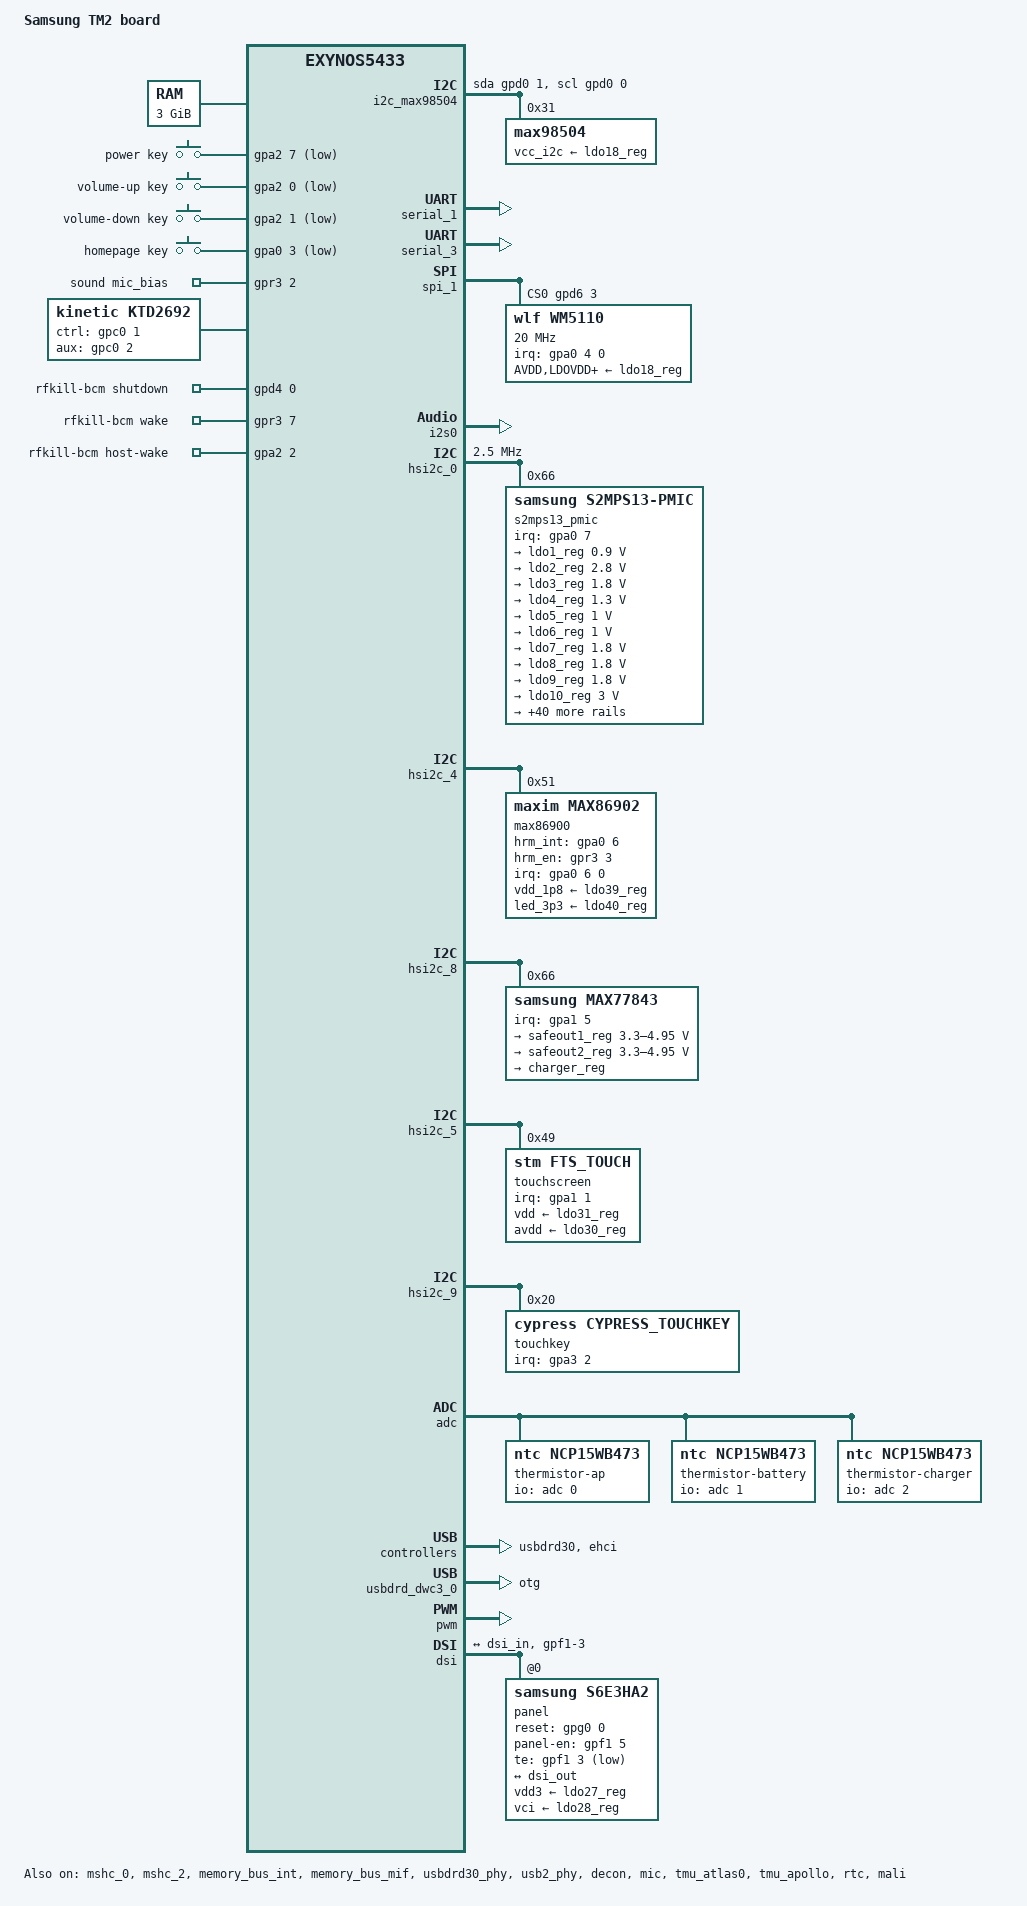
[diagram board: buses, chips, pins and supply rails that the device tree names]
/*
 * SAMSUNG Exynos5433 TM2 board device tree source
 *
 * Copyright (c) 2014 Samsung Electronics Co., Ltd.
 *		http://www.samsung.com
 *
 * This program is free software; you can redistribute it and/or modify
 * it under the terms of the GNU General Public License version 2 as
 * published by the Free Software Foundation.
 */

/dts-v1/;
#include "exynos5433.dtsi"
#include <dt-bindings/input/input.h>

/ {
	model = "Samsung TM2 board";
	model_info-chip = <5433>;
	model_info-platform = "trlte";
	model_info-subtype = "trlte_eur_open";
	model_info-hw_rev = <7>;
	model_info-hw_rev_end = <7>;

	compatible = "samsung,tm2", "samsung,exynos5433";

	aliases {
		pinctrl0 = &pinctrl_alive;
		pinctrl1 = &pinctrl_aud;
		pinctrl2 = &pinctrl_cpif;
		pinctrl3 = &pinctrl_ese;
		pinctrl4 = &pinctrl_finger;
		pinctrl5 = &pinctrl_fsys;
		pinctrl6 = &pinctrl_imem;
		pinctrl7 = &pinctrl_nfc;
		pinctrl8 = &pinctrl_peric;
		pinctrl9 = &pinctrl_touch;
		serial0 = &serial_0;
		serial1 = &serial_1;
		serial2 = &serial_2;
		serial3 = &serial_3;
		i2c0 = &hsi2c_0;
		i2c1 = &hsi2c_1;
		i2c2 = &hsi2c_2;
		i2c3 = &hsi2c_3;
		i2c4 = &hsi2c_4;
		i2c5 = &hsi2c_5;
		i2c6 = &hsi2c_6;
		i2c7 = &hsi2c_7;
		i2c8 = &hsi2c_8;
		i2c9 = &hsi2c_9;
		i2c10 = &hsi2c_10;
		i2c11 = &hsi2c_11;
		i2c12 = &i2c_max98504;
		mshc0 = &mshc_0;
		mshc1 = &mshc_1;
		mshc2 = &mshc_2;
		spi0 = &spi_0;
		spi1 = &spi_1;
		spi2 = &spi_2;
		spi3 = &spi_3;
		spi4 = &spi_4;
		usbdrdphy0 = &usbdrd30_phy;
	};

	chosen {
		linux,stdout-path = &serial_1;
	};

	memory@20000000 {
		device_type = "memory";
		reg = <0x0 0x20000000 0x0 0xc0000000>;
	};

	always-on-clks {
		compatible = "clk-always-on";
		clocks = <&cmu_peric CLK_PCLK_UART1>,
			<&cmu_peric CLK_SCLK_UART1>,
			<&cmu_aud CLK_PCLK_AUD_UART>,
			<&cmu_aud CLK_SCLK_AUD_UART>;
	};

	cmu_suspend {
		compatible = "exynos5433-cmu-suspend";
		suspend-on-clks = <&cmu_mif CLK_SCLK_DSIM0_DISP>,
				<&cmu_mif CLK_ACLK_DISP_333>,
				<&cmu_mif CLK_SCLK_DECON_ECLK_DISP>;
		suspend-reparent-clks = <&cmu_aud CLK_MOUT_AUD_PLL_USER &xxti>;
	};

	charger-manager {
		compatible = "charger-manager";

		cm-name = "battery";
		cm-poll-mode = <1>;
		cm-poll-mode-sleep = <2>;
		cm-poll-interval = <30000>;

		cm-fullbatt-vchkdrop-volt = <150000>;
		cm-fullbatt-voltage = <4300000>;
		cm-fullbatt-soc = <100>;
		cm-fullbatt-capacity = <100>;

		cm-battery-stat = <3>;

		cm-fuel-gauge = "max77843-fuelgauge";

		cm-charging-max = <21600000>;	/* 60 hours */
		cm-discharging-max = <300000>;	/* 5 minutes */

		cm-num-chargers = <1>;
		cm-chargers = "max77843-charger";

		charger@0 {
			cm-regulator-name = "CHARGER";
			cable@0 {
				cm-cable-name = "USB";
				cm-cable-extcon = "max77843-muic";
				cm-cable-min = <500000>;
				cm-cable-max = <500000>;
			};
			cable@1 {
				cm-cable-name = "TA";
				cm-cable-extcon = "max77843-muic";
				cm-cable-min = <2100000>;
				cm-cable-max = <2100000>;
			};
		};
	};

	gpio_keys {
		compatible = "gpio-keys";

		power_key {
			gpios = <&gpa2 7 1>;
			linux,code = <KEY_POWER>;
			label = "power key";
			debounce-interval = <10>;
			gpio-key,wakeup;
		};

		volume_up_key {
			gpios = <&gpa2 0 1>;
			linux,code = <KEY_VOLUMEUP>;
			label = "volume-up key";
			debounce-interval = <10>;
		};

		volume_down_key {
			gpios = <&gpa2 1 1>;
			linux,code = <KEY_VOLUMEDOWN>;
			label = "volume-down key";
			debounce-interval = <10>;
		};

		homepage_key {
			gpios = <&gpa0 3 1>;
			linux,code = <KEY_MENU>;
			label = "homepage key";
			debounce-interval = <10>;
		};
	};

	i2c_max98504: i2c-gpio-0 {
		compatible = "i2c-gpio";
		gpios = <&gpd0 1 0 /* SPK_AMP_SDA */
			 &gpd0 0 0 /* SPK_AMP_SCL */ >;
		i2c-gpio,delay-us = <2>;
		#address-cells = <1>;
		#size-cells = <0>;
		status = "okay";
		max98504@31 {
			compatible = "max98504";
			reg = <0x31>;
			vcc_i2c-supply = <&ldo18_reg>;
			max98504,rx_mode = <1>;
			max98504,tx_mode = <1>;
			max98504,cfg_data = <0 0 0 0 0 3 0 2 0 0>;
		};
	};

	cpufreq {
		compatible = "arm-bL-cpufreq-dt";
		status = "okay";
	};

	sound {
		compatible = "samsung,tm2-audio";
		clocks = <&pmu_system_controller 0>, <&s2mps13_osc 2>;
		clock-names = "mclk1", "mclk2";
		assigned-clocks = <&pmu_system_controller 0>;
		assigned-clock-parents = <&xxti>;
		samsung,i2s-controller = <&i2s0>;
		samsung,model = "wm5110";
		mic_bias_gpio = <&gpr3 2 0>;
		samsung,audio-routing =
			"HP", "HPOUT1L",
			"HP", "HPOUT1R",

			"SPK", "HPOUT2L",
			"SPK", "HPOUT2R",

			"RCV", "HPOUT3L",
			"RCV", "HPOUT3R",

			"VPS", "HPOUT2L",
			"VPS", "HPOUT2R",

			"HDMI", "SPKOUTL",

			"Main Mic", "MICBIAS2",
			"IN1R", "Main Mic",

			"Sub Mic", "MICBIAS3",
			"IN3L", "Sub Mic",

			"Third Mic", "MICBIAS2",
			"Third Mic", "MICBIAS3",
			"IN3R", "Third Mic",

			"Headset Mic", "MICBIAS1",
			"IN2R", "Headset Mic";
	};

	ktd2692 {
		compatible = "kinetic,ktd2692";
		ctrl-gpio = <&gpc0 1 0>;
		aux-gpio = <&gpc0 2 0>;

		flash-led {
			label = "ktd2692-flash";
			flash-max-microamp = <1050000>;
			flash-max-timeout-us = <1835000>;
		};
	};

	rfkill-bcm {
		compatible = "brcm,bcm4358";
		rfkill-name = "bcm4358-bt";
		rfkill-type = <2>;
		shutdown-gpios = <&gpd4 0 0>;
		wake-gpios = <&gpr3 7 0>;
		host-wake-gpios = <&gpa2 2 0>;
	};
};

&cpu0 {
	cpu-supply = <&buck3_reg>;
};

&cpu4 {
	cpu-supply = <&buck2_reg>;
};

&serial_1 {
	status = "okay";
};

&serial_3 {
	assigned-clocks = <&cmu_aud CLK_MOUT_AUD_PLL_USER>;
	assigned-clock-parents = <&cmu_top CLK_FOUT_AUD_PLL>;
	status = "okay";
};

&spi_1 {
	cs-gpios = <&gpd6 3 0>;	/* CODEC_SPI_SSN */
	status = "okay";

	wm5110: wm5110-codec@0 {
		compatible = "wlf,wm5110";
		reg = <0x0>;
		spi-max-frequency = <20000000>;
		interrupt-parent = <&gpa0>;	/* CODEC_IRQ_N */
		interrupts = <4 0 0>;

		gpio-controller;
		#gpio-cells = <2>;

		wlf,micd-detect-debounce = <300>;
		wlf,micd-bias-start-time = <0x1>;
		wlf,micd-rate = <0x7>;
		wlf,micd-dbtime = <0x1>;
		wlf,micd-force-micbias;

		wlf,micd-ranges = <
			139 0x101
			295 0x102
			752 0x103
			1257 0x104
		>;
		wlf,micd-configs = <
			0x0 1 0
		>;

		wlf,reset = <&gpc0 7 0>;	/* CODEC_RESET_N */
		wlf,ldoena = <&gpf0 0 0>;	/* CODEC_LDO_EN */
		wlf,inmode = <2 0 2 0>;         /* INn_MODE */

		wlf,hpdet-channel = <1>;	/* HPDETR */

		wlf,gpsw = <0x1>;

		/* core supplies */
		AVDD-supply = <&ldo18_reg>;
		LDOVDD-supply = <&ldo18_reg>;
		DBVDD1-supply = <&ldo18_reg>;

		CPVDD-supply = <&ldo18_reg>;
		DBVDD2-supply = <&ldo18_reg>;
		DBVDD3-supply = <&ldo18_reg>;
		SPKVDDL-supply = <&ldo18_reg>;
		SPKVDDR-supply = <&ldo18_reg>;

		ldo1 {
			DCVDD-supply = <&ldo18_reg>;
		};

		controller-data {
			samsung,spi-feedback-delay = <0>;
		};
	};
};

&i2s0 {
	status = "okay";
};

&hsi2c_0 {
	status = "okay";
	clock-frequency = <2500000>;

	s2mps13_pmic@66 {
		compatible = "samsung,s2mps13-pmic";
		interrupt-parent = <&gpa0>;
		interrupts = <7 0>;
		reg = <0x66>;
		wakeup;

		s2mps13_osc: clocks {
			compatible = "samsung,s2mps13-clk";
			#clock-cells = <1>;
			clock-output-names = "s2mps13_ap", "s2mps13_cp",
				"s2mps13_bt";
		};

		regulators {
			ldo1_reg: LDO1 {
				regulator-name = "VDD_ALIVE_0.9V_AP";
				regulator-min-microvolt = <900000>;
				regulator-max-microvolt = <900000>;
				regulator-always-on;
			};

			ldo2_reg: LDO2 {
				regulator-name = "VDDQ_MMC2_2.8V_AP";
				regulator-min-microvolt = <2800000>;
				regulator-max-microvolt = <2800000>;
				regulator-always-on;
				regulator-state-mem {
					regulator-off-in-suspend;
				};
			};

			ldo3_reg: LDO3 {
				regulator-name = "VDD1_E_1.8V_AP";
				regulator-min-microvolt = <1800000>;
				regulator-max-microvolt = <1800000>;
				regulator-always-on;
			};

			ldo4_reg: LDO4 {
				regulator-name = "VDD10_MIF_PLL_1.0V_AP";
				regulator-min-microvolt = <1300000>;
				regulator-max-microvolt = <1300000>;
				regulator-always-on;
				regulator-state-mem {
					regulator-off-in-suspend;
				};
			};

			ldo5_reg: LDO5 {
				regulator-name = "VDD10_DPLL_1.0V_AP";
				regulator-min-microvolt = <1000000>;
				regulator-max-microvolt = <1000000>;
				regulator-always-on;
				regulator-state-mem {
					regulator-off-in-suspend;
				};
			};

			ldo6_reg: LDO6 {
				regulator-name = "VDD10_MIPI2L_1.0V_AP";
				regulator-min-microvolt = <1000000>;
				regulator-max-microvolt = <1000000>;
				regulator-always-on;
				regulator-state-mem {
					regulator-off-in-suspend;
				};
			};

			ldo7_reg: LDO7 {
				regulator-name = "VDD18_MIPI2L_1.8V_AP";
				regulator-min-microvolt = <1800000>;
				regulator-max-microvolt = <1800000>;
				regulator-always-on;
			};

			ldo8_reg: LDO8 {
				regulator-name = "VDD18_LLI_1.8V_AP";
				regulator-min-microvolt = <1800000>;
				regulator-max-microvolt = <1800000>;
				regulator-always-on;
				regulator-state-mem {
					regulator-off-in-suspend;
				};
			};

			ldo9_reg: LDO9 {
				regulator-name = "VDD18_ABB_ETC_1.8V_AP";
				regulator-min-microvolt = <1800000>;
				regulator-max-microvolt = <1800000>;
				regulator-always-on;
				regulator-state-mem {
					regulator-off-in-suspend;
				};
			};

			ldo10_reg: LDO10 {
				regulator-name = "VDD33_USB30_3.0V_AP";
				regulator-min-microvolt = <3000000>;
				regulator-max-microvolt = <3000000>;
				regulator-always-on;
				regulator-state-mem {
					regulator-off-in-suspend;
				};
			};

			ldo11_reg: LDO11 {
				regulator-name = "VDD_INT_M_1.0V_AP";
				regulator-min-microvolt = <1000000>;
				regulator-max-microvolt = <1000000>;
				regulator-always-on;
				regulator-state-mem {
					regulator-off-in-suspend;
				};
			};

			ldo12_reg: LDO12 {
				regulator-name = "VDD_KFC_M_1.1V_AP";
				regulator-min-microvolt = <800000>;
				regulator-max-microvolt = <1350000>;
				regulator-always-on;
			};

			ldo13_reg: LDO13 {
				regulator-name = "VDD_G3D_M_0.95V_AP";
				regulator-min-microvolt = <950000>;
				regulator-max-microvolt = <950000>;
				regulator-always-on;
				regulator-state-mem {
					regulator-off-in-suspend;
				};
			};

			ldo14_reg: LDO14 {
				regulator-name = "VDDQ_M1_LDO_1.2V_AP";
				regulator-min-microvolt = <1200000>;
				regulator-max-microvolt = <1200000>;
				regulator-always-on;
				regulator-state-mem {
					regulator-off-in-suspend;
				};
			};

			ldo15_reg: LDO15 {
				regulator-name = "VDDQ_M2_LDO_1.2V_AP";
				regulator-min-microvolt = <1200000>;
				regulator-max-microvolt = <1200000>;
				regulator-always-on;
				regulator-state-mem {
					regulator-off-in-suspend;
				};
			};

			ldo16_reg: LDO16 {
				regulator-name = "VDDQ_EFUSE";
				regulator-min-microvolt = <1400000>;
				regulator-max-microvolt = <3400000>;
				regulator-always-on;
			};

			ldo17_reg: LDO17 {
				regulator-name = "V_TFLASH_2.8V_AP";
				regulator-min-microvolt = <2800000>;
				regulator-max-microvolt = <2800000>;
			};

			ldo18_reg: LDO18 {
				regulator-name = "V_CODEC_1.8V_AP";
				regulator-min-microvolt = <1800000>;
				regulator-max-microvolt = <1800000>;
				regulator-always-on;
			};

			ldo19_reg: LDO19 {
				regulator-name = "VDDA_1.8V_COMP";
				regulator-min-microvolt = <1800000>;
				regulator-max-microvolt = <1800000>;
				regulator-always-on;
			};

			ldo20_reg: LDO20 {
				regulator-name = "VCC_2.8V_AP";
				regulator-min-microvolt = <2800000>;
				regulator-max-microvolt = <2800000>;
				regulator-always-on;
			};

			ldo21_reg: LDO21 {
				regulator-name = "VT_CAM_1.8V";
				regulator-min-microvolt = <1800000>;
				regulator-max-microvolt = <1800000>;
			};

			ldo22_reg: LDO22 {
				regulator-name = "CAM_IO_1.8V_AP";
				regulator-min-microvolt = <1800000>;
				regulator-max-microvolt = <1800000>;
			};

			ldo23_reg: LDO23 {
				regulator-name = "CAM_SEN_CORE_1.05V_AP";
				regulator-min-microvolt = <1050000>;
				regulator-max-microvolt = <1050000>;
			};

			ldo24_reg: LDO24 {
				regulator-name = "VT_CAM_1.2V";
				regulator-min-microvolt = <1200000>;
				regulator-max-microvolt = <1200000>;
			};

			ldo25_reg: LDO25 {
				regulator-name = "UNUSED_LDO25";
				regulator-min-microvolt = <2800000>;
				regulator-max-microvolt = <2800000>;
			};

			ldo26_reg: LDO26 {
				regulator-name = "CAM_AF_2.8V_AP";
				regulator-min-microvolt = <2800000>;
				regulator-max-microvolt = <2800000>;
			};

			ldo27_reg: LDO27 {
				regulator-name = "VCC_3.0V_LCD_AP";
				regulator-min-microvolt = <3000000>;
				regulator-max-microvolt = <3000000>;
				regulator-always-on;
			};

			ldo28_reg: LDO28 {
				regulator-name = "VCC_1.8V_LCD_AP";
				regulator-min-microvolt = <1800000>;
				regulator-max-microvolt = <1800000>;
				regulator-always-on;
			};

			ldo29_reg: LDO29 {
				regulator-name = "VT_CAM_3.0V";
				regulator-min-microvolt = <3000000>;
				regulator-max-microvolt = <3000000>;
				regulator-always-on;
			};

			ldo30_reg: LDO30 {
				regulator-name = "TSP_AVDD_3.3V_AP";
				regulator-min-microvolt = <3300000>;
				regulator-max-microvolt = <3300000>;
			};

			ldo31_reg: LDO31 {
				regulator-name = "TSP_VDD_1.85V_AP";
				regulator-min-microvolt = <1850000>;
				regulator-max-microvolt = <1850000>;
				regulator-boot-on;
			};

			ldo32_reg: LDO32 {
				regulator-name = "VTOUCH_1.8V_AP";
				regulator-min-microvolt = <1800000>;
				regulator-max-microvolt = <1800000>;
				regulator-boot-on;
			};

			ldo33_reg: LDO33 {
				regulator-name = "VTOUCH_LED_3.3V";
				regulator-min-microvolt = <3300000>;
				regulator-max-microvolt = <3300000>;
			};

			ldo34_reg: LDO34 {
				regulator-name = "VCC_1.8V_MHL_AP";
				regulator-min-microvolt = <1000000>;
				regulator-max-microvolt = <2100000>;
			};

			ldo35_reg: LDO35 {
				regulator-name = "OIS_VM_2.8V";
				regulator-min-microvolt = <1800000>;
				regulator-max-microvolt = <2800000>;
			};

			ldo36_reg: LDO36 {
				regulator-name = "VSIL_1.0V";
				regulator-min-microvolt = <1000000>;
				regulator-max-microvolt = <1000000>;
			};

			ldo37_reg: LDO37 {
				regulator-name = "VF_1.8V";
				regulator-min-microvolt = <1800000>;
				regulator-max-microvolt = <1800000>;
				regulator-always-on;
			};

			ldo38_reg: LDO38 {
				regulator-name = "VCC_3.0V_MOTOR_AP";
				regulator-min-microvolt = <3000000>;
				regulator-max-microvolt = <3000000>;
			};

			ldo39_reg: LDO39 {
				regulator-name = "V_HRM_1.8V";
				regulator-min-microvolt = <1800000>;
				regulator-max-microvolt = <1800000>;
			};

			ldo40_reg: LDO40 {
				regulator-name = "V_HRM_3.3V";
				regulator-min-microvolt = <3300000>;
				regulator-max-microvolt = <3300000>;
			};

			buck1_reg: BUCK1 {
				regulator-name = "VDD_MIF_0.9V_AP";
				regulator-min-microvolt = <600000>;
				regulator-max-microvolt = <1500000>;
				regulator-always-on;
				regulator-state-mem {
					regulator-off-in-suspend;
				};
			};

			buck2_reg: BUCK2 {
				regulator-name = "VDD_EGL_1.0V_AP";
				regulator-min-microvolt = <1300000>;
				regulator-max-microvolt = <1300000>;
				regulator-always-on;
				regulator-state-mem {
					regulator-off-in-suspend;
				};
			};

			buck3_reg: BUCK3 {
				regulator-name = "VDD_KFC_1.0V_AP";
				regulator-min-microvolt = <1200000>;
				regulator-max-microvolt = <1200000>;
				regulator-always-on;
				regulator-state-mem {
					regulator-off-in-suspend;
				};
			};

			buck4_reg: BUCK4 {
				regulator-name = "VDD_INT_0.95V_AP";
				regulator-min-microvolt = <600000>;
				regulator-max-microvolt = <1500000>;
				regulator-always-on;
				regulator-state-mem {
					regulator-off-in-suspend;
				};
			};

			buck5_reg: BUCK5 {
				regulator-name = "VDD_DISP_CAM0_0.9V_AP";
				regulator-min-microvolt = <600000>;
				regulator-max-microvolt = <1500000>;
				regulator-always-on;
				regulator-state-mem {
					regulator-off-in-suspend;
				};
			};

			buck6_reg: BUCK6 {
				regulator-name = "VDD_G3D_0.9V_AP";
				regulator-min-microvolt = <600000>;
				regulator-max-microvolt = <1500000>;
				regulator-always-on;
				regulator-state-mem {
					regulator-off-in-suspend;
				};
			};

			buck7_reg: BUCK7 {
				regulator-name = "VDD_MEM1_1.2V_AP";
				regulator-min-microvolt = <1200000>;
				regulator-max-microvolt = <1200000>;
				regulator-always-on;
			};

			buck8_reg: BUCK8 {
				regulator-name = "VDD_LLDO_1.35V_AP";
				regulator-min-microvolt = <1350000>;
				regulator-max-microvolt = <3300000>;
				regulator-always-on;
			};

			buck9_reg: BUCK9 {
				regulator-name = "VDD_MLDO_2.0V_AP";
				regulator-min-microvolt = <1350000>;
				regulator-max-microvolt = <3300000>;
				regulator-always-on;
			};

			buck10_reg: BUCK10 {
				regulator-name = "vdd_mem2";
				regulator-min-microvolt = <550000>;
				regulator-max-microvolt = <1500000>;
				regulator-always-on;
			};
		};
	};
};

&hsi2c_4 {
	status = "okay";
	max86900@51 {
		compatible = "maxim,max86902";
		reg = <0x51>;
		interrupt-parent = <&gpa0>;
		interrupts = <6 0 0>;
		vdd_1p8-supply = <&ldo39_reg>;
		led_3p3-supply = <&ldo40_reg>;
		max86900,hrm_int-gpio = <&gpa0 6 0>;
		max86900,hrm_en-gpio = <&gpr3 3 0>;
		max86900,dual-hrm = <1>;
	};
};

&hsi2c_8 {
	status = "okay";

	max77843@66 {
		compatible = "samsung,max77843";
		interrupt-parent = <&gpa1>;
		interrupts = <5 2>;
		reg = <0x66>;
		wakeup;

		muic: max77843-muic {
			compatible = "maxim,max77843-muic";
		};

		regulators {
			safeout1_reg: SAFEOUT1 {
				regulator-name = "SAFEOUT1";
				regulator-min-microvolt = <3300000>;
				regulator-max-microvolt = <4950000>;
			};

			safeout2_reg: SAFEOUT2 {
				regulator-name = "SAFEOUT2";
				regulator-min-microvolt = <3300000>;
				regulator-max-microvolt = <4950000>;
			};

			charger_reg: CHARGER {
				regulator-name = "CHARGER";
				regulator-min-microamp = <100000>;
				regulator-max-microamp = <3150000>;
			};
		};

		charger: max77843-charger {
			compatible = "maxim,max77843-charger";
			maxim,fast-charge-uamp = <450000>;
			maxim,top-off-uamp = <200000>;
			maxim,input-uamp-limit = <3200000>;
			extcon = <&muic>;
		};

		fuelgauge: max77843-fuelgauge {
			compatible = "maxim,max77843-fuelgauge";
		};

		haptic: max77843-haptic {
			compatible = "maxim,max77843-haptic";
			haptic-supply = <&ldo38_reg>;
			pwms = <&pwm 0 33670 0>;
			pwm-names = "haptic";
		};

		leds {
			compatible = "maxim,max77843-led";

			led@1 {
				channel = <1>;
				label = "led.1";
				color = "RED";
			};
			led@2 {
				channel = <2>;
				label = "led.2";
				color = "GREEN";
			};
			led@3 {
				channel = <3>;
				label = "led.3";
				color = "BLUE";
			};
		};
	};
};

&hsi2c_5 {
	status = "okay";

	touchscreen@49 {
		compatible = "stm,fts_touch";
		reg = <0x49>;
		interrupt-parent = <&gpa1>;
		interrupts = <1 0>;
		x-size = <1439>;
		y-size = <2559>;
		vdd-supply = <&ldo31_reg>;
		avdd-supply = <&ldo30_reg>;
	};
};

&hsi2c_9 {
	status = "okay";

	touchkey@20 {
		compatible = "cypress,cypress_touchkey";
		reg = <0x20>;
		interrupt-parent = <&gpa3>;
		interrupts = <2 0>;
		pinctrl-names = "default";
		cypress,ic-stabilizing-time = <150>;
		cypress,i2c-gpio = <1>;
		cypress,boot-on-ldo = "false";
		linux,code = <KEY_PHONE KEY_BACK>;
	};
};

&mshc_0 {
	status = "okay";
	num-slots = <1>;
	broken-cd;
	mmc-hs200-1_8v;
	mmc-hs400-1_8v;
	cap-mmc-highspeed;
	non-removable;
	card-detect-delay = <200>;
	samsung,dw-mshc-ciu-div = <3>;
	samsung,dw-mshc-sdr-timing = <0 4>;
	samsung,dw-mshc-ddr-timing = <0 2>;
	samsung,dw-mshc-hs400-timing = <0 3>;
	samsung,read-strobe-delay = <90>;
	fifo-depth = <0x80>;
	pinctrl-names = "default";
	pinctrl-0 = <&sd0_clk &sd0_cmd &sd0_qrdy &sd0_bus1 &sd0_bus4 &sd0_bus8 &sd0_rdqs>;
	bus-width = <8>;
	assigned-clocks = <&cmu_top CLK_SCLK_MMC0_FSYS>;
	assigned-clock-rates = <800000000>;
};

&mshc_2 {
	status = "okay";
	num-slots = <1>;
	cap-sd-highspeed;
	disable-wp;
	cd-gpios = <&gpa2 4 0>;
	cd-inverted;
	card-detect-delay = <200>;
	samsung,dw-mshc-ciu-div = <3>;
	samsung,dw-mshc-sdr-timing = <0 4>;
	samsung,dw-mshc-ddr-timing = <0 2>;
	fifo-depth = <0x80>;
	pinctrl-names = "default";
	pinctrl-0 = <&sd2_clk &sd2_cmd &sd2_bus1 &sd2_bus4>;
	bus-width = <4>;
};

&adc {
	vdd-supply = <&ldo3_reg>;
	status = "okay";

	thermistor-ap {
		compatible = "ntc,ncp15wb473";
		pullup-uv = <1800000>;
		pullup-ohm = <100000>;
		pulldown-ohm = <0>;
		io-channels = <&adc 0>;
	};

	thermistor-battery {
		compatible = "ntc,ncp15wb473";
		pullup-uv = <1800000>;
		pullup-ohm = <100000>;
		pulldown-ohm = <0>;
		io-channels = <&adc 1>;
	};

	thermistor-charger {
		compatible = "ntc,ncp15wb473";
		pullup-uv = <1800000>;
		pullup-ohm = <100000>;
		pulldown-ohm = <0>;
		io-channels = <&adc 2>;
	};
};

&ppmu_d0_cpu {
	status = "okay";

	events {
		ppmu_d0_cpu_3: ppmu-event3-d0-cpu {
			event-name = "ppmu-event3-d0-cpu";
		};
	};
};

&ppmu_d0_general {
	status = "okay";

	events {
		ppmu_d0_general_0: ppmu-event0-d0-general {
			event-name = "ppmu-event0-d0-general";
		};
	};
};

&ppmu_d0_rt {
	status = "okay";

	events {
		ppmu_d0_rt_3: ppmu-event3-d0-rt {
			event-name = "ppmu-event3-d0-rt";
		};
	};
};

&ppmu_d1_cpu {
	status = "okay";

	events {
		ppmu_d1_cpu_3: ppmu-event3-d1-cpu {
			event-name = "ppmu-event3-d1-cpu";
		};
	};
};

&ppmu_d1_general {
	status = "okay";

	events {
		ppmu_d1_general_0: ppmu-event0-d1-general {
			event-name = "ppmu-event0-d1-general";
		};
	};
};

&ppmu_d1_rt {
	status = "okay";

	events {
		ppmu_d1_rt_3: ppmu-event3-d1-rt {
			event-name = "ppmu-event3-d1-rt";
		};
	};
};

&memory_bus_int {
	devfreq-events = <&ppmu_d0_general_0>,
			 <&ppmu_d1_general_0>;
	vdd-mem-supply = <&buck4_reg>;
	exynos,saturation-ratio = <10>;
	status = "okay";
};

&memory_bus_mif {
	devfreq-events = <&ppmu_d0_cpu_3>,
			 <&ppmu_d1_cpu_3>;
	vdd-mem-supply = <&buck1_reg>;
	exynos,saturation-ratio = <10>;
	status = "okay";
};

&xxti {
	clock-frequency = <24000000>;
};

&usbdrd30 {
	vdd33-supply = <&ldo10_reg>;
	vdd10-supply = <&ldo6_reg>;
	extcon = <&muic>;
	status = "okay";
};

&usbdrd_dwc3_0 {
	dr_mode = "otg";
};

&usbdrd30_phy {
	vbus-supply = <&safeout1_reg>;
	status = "okay";
};

&ehci {
	status = "okay";
	port@1 {
		status = "okay";
	};
};

&usb2_phy {
	status = "okay";
};

&pwm {
	pinctrl-0 = <&pwm0_out>;
	pinctrl-names = "default";
	status = "okay";
};

&decon {
	status = "okay";
	iommu-reserved-mapping = <0x20000000 0x20000000 0xc0000000>;

	i80-if-timings {
	};
};

&dsi {
	status = "okay";
	vddcore-supply = <&ldo6_reg>;
	vddio-supply = <&ldo7_reg>;
	samsung,pll-clock-frequency = <24000000>;
	pinctrl-names = "default";
	pinctrl-0 = <&te_irq>;

	ports {
		#address-cells = <1>;
		#size-cells = <0>;

		port@1 {
			reg = <1>;

			dsi_out: endpoint {
				remote-endpoint = <&dsi_in>;
				samsung,burst-clock-frequency = <512000000>;
				samsung,esc-clock-frequency = <16000000>;
			};
		};
	};

	panel@0 {
		compatible = "samsung,s6e3ha2";
		reg = <0>;
		vdd3-supply = <&ldo27_reg>;
		vci-supply = <&ldo28_reg>;
		reset-gpios = <&gpg0 0 0>;
		panel-en-gpios = <&gpf1 5 0>;
		te-gpios = <&gpf1 3 1>;
		power-on-delay= <5>;
		init-delay = <120>;
		panel-width-mm = <71>;
		panel-height-mm = <125>;

		display-timings {
			timing-0 {
				clock-frequency = <14874444>;
				hactive = <1440>;
				vactive = <2560>;
				hfront-porch = <1>;
				hback-porch = <1>;
				hsync-len = <1>;
				vfront-porch = <1>;
				vback-porch = <15>;
				vsync-len = <1>;
			};
		};

		port {
			dsi_in: endpoint {
				remote-endpoint = <&dsi_out>;
			};
		};
	};
};

&mic {
	status = "okay";
};

&tmu_atlas0 {
	vtmu-supply = <&ldo3_reg>;
	status = "okay";
};

&tmu_apollo {
	vtmu-supply = <&ldo3_reg>;
	status = "okay";
};

&rtc {
	status = "okay";
};

&mali {
	status = "okay";
	vdd_g3d-supply = <&buck6_reg>;
};

&pinctrl_alive {
	pinctrl-names = "default";
	pinctrl-0 = <&initial_alive>;

	initial_alive: initial-state {
		PIN(IN, gpa0-0, DOWN, LV1);	/* CLK_REQ */
		PIN(IN, gpa0-1, NONE, LV1);	/* HALL_SENSOR_INT */
		PIN(IN, gpa0-2, DOWN, LV1);	/* WLAN_AP_STATUS */
		PIN(IN, gpa0-3, NONE, LV1);	/* OK_SW */
		PIN(IN, gpa0-4, NONE, LV1);	/* CODEC_IRQ_N */
		PIN(IN, gpa0-5, DOWN, LV1);	/* PCD_INT */
		PIN(IN, gpa0-6, NONE, LV1);	/* HRM_INT */
		PIN(IN, gpa0-7, DOWN, LV1);	/* AP_PMIC_IRQ */

		PIN(IN, gpa1-0, UP, LV1);	/* MCU_HOST_WAKE */
		PIN(IN, gpa1-1, NONE, LV1);	/* TSP_INT */
		PIN(IN, gpa1-2, NONE, LV1);	/* IPC_HOST_WAKE */
		PIN(IN, gpa1-3, DOWN, LV1);	/* NFC_IRQ */
		PIN(IN, gpa1-4, DOWN, LV1);	/* TP603 */
		PIN(IN, gpa1-5, UP, LV1);	/* CHG_INTB */
		PIN(IN, gpa1-6, NONE, LV1);	/* WACOM_SENSE */
		PIN(IN, gpa1-7, NONE, LV1);	/* FPS_IRQ */

		PIN(IN, gpa2-0, NONE, LV1);	/* VOL_UP */
		PIN(IN, gpa2-1, NONE, LV1);	/* VOL_DOWN */
		PIN(IN, gpa2-2, NONE, LV1);	/* BT_HOST_WAKE */
		PIN(IN, gpa2-3, DOWN, LV1);	/* PHONE_ACTIVE */
		PIN(IN, gpa2-4, NONE, LV1);	/* T_FLASH_DETECT */
		PIN(IN, gpa2-5, DOWN, LV1);	/* IPC_HOST_RESUME */
		PIN(IN, gpa2-6, DOWN, LV1);	/* CP_DUMP_INT */
		PIN(IN, gpa2-7, NONE, LV1);	/* nPOWER */

		PIN(IN, gpa3-0, DOWN, LV1);	/* HDMI_HPD */
		PIN(IN, gpa3-1, DOWN, LV1);	/* PWRRST_D_N */
		PIN(IN, gpa3-2, NONE, LV1);	/* TOUCH_INT */
		PIN(IN, gpa3-3, DOWN, LV1);	/* MCU_HOST_REQ */
		PIN(IN, gpa3-4, NONE, LV1);	/* AMP_INT_R */
		PIN(IN, gpa3-5, DOWN, LV1);	/* WCINOKB */
		PIN(IN, gpa3-6, DOWN, LV1);	/* COVER_DET */
		PIN(IN, gpa3-7, DOWN, LV1);	/* SMPL_WARN */

		PIN(IN, gpf1-0, NONE, LV1);	/* PCIE_WAKE_L */
		PIN(IN, gpf1-1, NONE, LV1);	/* RESET_REQ_N */
		PIN(IN, gpf1-2, DOWN, LV1);	/* CP_RESET_OUT */
		PIN(IN, gpf1-4, UP, LV1);	/* NFC_EN */
		PIN(OUT, gpf1-5, NONE, LV1);	/* LCD_106V_EN */
		PIN(IN, gpf1-6, DOWN, LV1);	/* WACOM_LDO_EN */
		PIN(IN, gpf1-7, DOWN, LV1);	/* COMP_EN */

		PIN(IN, gpf2-0, DOWN, LV1);	/* TSP_ID */
		PIN(IN, gpf2-1, DOWN, LV1);	/* OCTA_ID */
		PIN(IN, gpf2-2, DOWN, LV1);	/* MCU_AP_INT_2_1.8V */
		PIN(IN, gpf2-3, DOWN, LV1);	/* AP_MCU_INT_1.8V */

		PIN(IN, gpf3-0, DOWN, LV1);	/* NC */
		PIN(IN, gpf3-1, DOWN, LV1);	/* WLAN_HOST_WAKE */
		PIN(IN, gpf3-2, NONE, LV1);	/* WLAN_DEVICE_WAKE */
		PIN(IN, gpf3-3, DOWN, LV1);	/* FPS_OCP_EN */

		PIN(IN, gpf4-0, DOWN, LV1);	/* FPS_LDO1_EN */
		PIN(IN, gpf4-1, DOWN, LV1);	/* FPS_LDO2_EN */
		PIN(IN, gpf4-2, DOWN, LV1);	/* PCIE_CLKREQ_L */
		PIN(IN, gpf4-3, DOWN, LV1);	/* PEN_IRQ_1.8V */
		PIN(IN, gpf4-4, DOWN, LV1);	/* PEN_PDCT_1.8V */
		PIN(IN, gpf4-5, DOWN, LV1);	/* CAM_SENSOR_DET */
		PIN(IN, gpf4-6, DOWN, LV1);	/* OIS_VDD_EN */
		PIN(IN, gpf4-7, DOWN, LV1);	/* MAIN_CAM_A_EN */

		PIN(IN, gpf5-0, DOWN, LV1);	/* IPS_SLAVE_WAKEUP */
		PIN(IN, gpf5-1, DOWN, LV1);	/* PEN_FWE_1.8V */
		PIN(IN, gpf5-2, DOWN, LV1);	/* FPS_RST_N */
		PIN(IN, gpf5-3, DOWN, LV1);	/* NC */
		PIN(OUT, gpf5-4, NONE, LV1);	/* WRSTB_IN */
		PIN(IN, gpf5-5, DOWN, LV1);	/* NC */
		PIN(IN, gpf5-6, DOWN, LV1);	/* NC */
		PIN(IN, gpf5-7, DOWN, LV1);	/* COMPANION_RSTN */
	};
};

&pinctrl_cpif {
	pinctrl-names = "default";
	pinctrl-0 = <&initial_cpif>;

	initial_cpif: initial-state {
		PIN(IN, gpv6-0, DOWN, LV1);	/* NC */
		PIN(IN, gpv6-1, DOWN, LV1);	/* NC */
	};
};

&pinctrl_ese {
	pinctrl-names = "default";
	pinctrl-0 = <&initial_ese>;

	initial_ese: initial-state {
		PIN(IN, gpj2-0, DOWN, LV1);	/* WLAN_EN */
		PIN(IN, gpj2-1, DOWN, LV1);	/* NC */
		PIN(IN, gpj2-2, DOWN, LV1);	/* NC */
	};
};

&pinctrl_fsys {
	pinctrl-names = "default";
	pinctrl-0 = <&initial_fsys &sleep0>;

	initial_fsys: initial-state {
		PIN(IN, gpr3-0, NONE, LV1);	/* BUCK6_DVS */
		PIN(IN, gpr3-1, DOWN, LV1);	/* CP_ON */
		PIN(IN, gpr3-2, DOWN, LV1);	/* MICBIAS_EN_AP */
		PIN(IN, gpr3-3, DOWN, LV1);	/* IRLED_EN */
		PIN(IN, gpr3-7, NONE, LV1);	/* BT_WAKE */
	};

	sleep0: sleep-state {
		PIN_SLP(gpr3-7, OUT0, DOWN);  /* BT_WAKE */
	};
};

&pinctrl_imem {
	pinctrl-names = "default";
	pinctrl-0 = <&initial_imem>;

	initial_imem: initial-state {
		PIN(IN, gpf0-0, UP, LV1);	/* CODEC_LDO_EN */
		PIN(IN, gpf0-1, UP, LV1);	/* BUCK6EN */
		PIN(IN, gpf0-2, DOWN, LV1);	/* MHL_INT */
		PIN(IN, gpf0-3, UP, LV1);	/* OCP_FLAG */
		PIN(IN, gpf0-4, DOWN, LV1);	/* NC */
		PIN(IN, gpf0-5, NONE, LV1);	/* IPC_SLAVE_RESUME */
		PIN(IN, gpf0-6, DOWN, LV1);	/* NC */
		PIN(IN, gpf0-7, UP, LV1);	/* LDO17_EN */
	};
};

&pinctrl_nfc {
	pinctrl-names = "default";
	pinctrl-0 = <&initial_nfc>;

	initial_nfc: initial-state {
		PIN(IN, gpj0-2, DOWN, LV1);	/* NFC_FIRMWARE */
	};
};

&pinctrl_peric {
	pinctrl-names = "default";
	pinctrl-0 = <&initial_peric &sleep1>;

	initial_peric: initial-state {
		PIN(IN, gpv7-0, DOWN, LV1);	/* MHL_RST */
		PIN(IN, gpv7-1, DOWN, LV1);	/* NC */
		PIN(IN, gpv7-2, NONE, LV1);	/* NC */
		PIN(IN, gpv7-3, DOWN, LV1);	/* NC */
		PIN(IN, gpv7-4, DOWN, LV1);	/* NC */
		PIN(IN, gpv7-5, DOWN, LV1);	/* CCI_MODE */

		PIN(IN, gpb0-4, DOWN, LV1);	/* ERR_FG */

		PIN(IN, gpc0-0, DOWN, LV1);	/* VT_CAM_STBY */
		PIN(FUNC1, gpc0-1, DOWN, LV1);	/* FLASH_LED_STROBE */
		PIN(IN, gpc0-2, DOWN, LV1);	/* FLASH_LED_TORCH */
		PIN(IN, gpc0-3, DOWN, LV1);	/* VT_CAM_NRST */
		PIN(IN, gpc0-4, DOWN, LV1);	/* MAIN_CAM_RST */
		PIN(IN, gpc0-5, DOWN, LV1);	/* NC */
		PIN(IN, gpc0-6, NONE, LV1);	/* FROM_SPI_SSN */
		PIN(IN, gpc0-7, DOWN, LV1);	/* CODEC_RESET_N */

		PIN(IN, gpc1-1, DOWN, LV1);	/* CRESET_B */

		PIN(IN, gpc3-0, DOWN, LV1);	/* COMP_FROM_SPI_SCLK */
		PIN(IN, gpc3-1, NONE, LV1);	/* COMP_SPI_SSN */
		PIN(IN, gpc3-2, DOWN, LV1);	/* COMP_FROM_SPI_MISO */
		PIN(IN, gpc3-3, DOWN, LV1);	/* COMP_FROM_SPI_MOSI */
		PIN(IN, gpc3-4, NONE, LV1);	/* HW_REV0 */
		PIN(IN, gpc3-5, NONE, LV1);	/* HW_REV1 */
		PIN(IN, gpc3-6, NONE, LV1);	/* HW_REV2 */
		PIN(IN, gpc3-7, NONE, LV1);	/* HW_REV3 */

		PIN(OUT, gpg0-0, NONE, LV1);	/* MLCD_RST */
		PIN(FUNC1, gpg0-1, DOWN, LV1);	/* LCD_TE */

		/* PIN(IN, gpd2-4, NONE, LV1); *//* VIB_PWM */
		PIN(IN, gpd2-5, DOWN, LV1);	/* COVER_ID */

		PIN(IN, gpd4-0, NONE, LV1);	/* BT_EN */
		PIN(IN, gpd4-1, DOWN, LV1);	/* HEALTH_3.3V_EN */
		PIN(IN, gpd4-2, DOWN, LV1);	/* NC */
		PIN(IN, gpd4-3, DOWN, LV1);	/* NC */
		PIN(IN, gpd4-4, DOWN, LV1);	/* VT_CAM_ID */

		PIN(IN, gpd8-1, UP, LV1);	/* SHUB_SPI_SSN */

		PIN(IN, gpd6-3, DOWN, LV1);	/* CODEC_SPI_SSN */

		PIN(IN, gpg1-0, DOWN, LV1);	/* NC */
		PIN(IN, gpg1-1, DOWN, LV1);	/* NC */
		PIN(IN, gpg1-2, DOWN, LV1);	/* NC */
		PIN(IN, gpg1-3, DOWN, LV1);	/* NC */
		PIN(IN, gpg1-4, DOWN, LV1);	/* NC */

		PIN(IN, gpg2-0, DOWN, LV1);	/* GPS_HUB_EN */
		PIN(IN, gpg2-1, DOWN, LV1);	/* PDA_ACTIVE */

		PIN(IN, gpg3-0, DOWN, LV1);	/* NC */
		PIN(IN, gpg3-1, DOWN, LV1);	/* NC */
		PIN(IN, gpg3-5, DOWN, LV1);	/* NC */
		PIN(IN, gpg3-7, DOWN, LV1);	/* IRDA_CONTROL */
	};

	sleep1: sleep-state {
		PIN_SLP(gpc0-1, PREV, DOWN);	/* FLASH_LED_STROBE */
		PIN_SLP(gpc0-2, INPUT, DOWN);	/* FLASH_LED_TORCH */
		PIN_SLP(gpd4-0, PREV, DOWN);	/* BT_EN */
	};
};

&pinctrl_touch {
	pinctrl-names = "default";
	pinctrl-0 = <&initial_touch>;

	initial_touch: initial-state {
		PIN(IN, gpj1-2, DOWN, LV1);	/* FPGA_DONE */
	};
};

&pinctrl_alive {
	te_irq: te_irq {
		samsung,pins = "gpf1-3";
		samsung,pin-function = <0xf>;
	};
};

&gsc_1 {
	samsung,lcd-wb;
};

&gsc_2 {
	samsung,lcd-wb;
};
